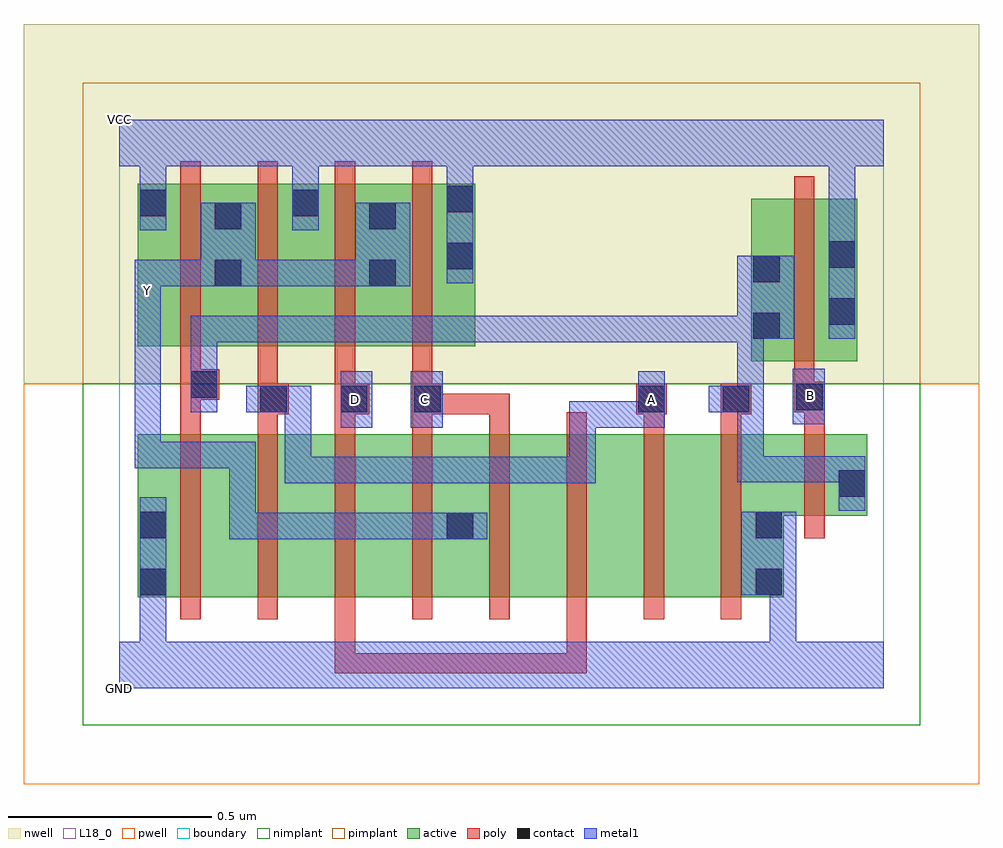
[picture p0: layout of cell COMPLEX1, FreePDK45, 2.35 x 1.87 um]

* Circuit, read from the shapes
.subckt COMPLEX1 A B C D GND VCC Y
M1 n1 n2 GND VSUBS nfet w=0.4u l=0.05u
M2 n3 A n1 VSUBS nfet w=0.4u l=0.05u
M3 n4 D n3 VSUBS nfet w=0.4u l=0.05u
M4 Y C n4 VSUBS nfet w=0.4u l=0.05u
M5 n5 C Y VSUBS nfet w=0.4u l=0.05u
M6 n6 D n5 VSUBS nfet w=0.4u l=0.05u
M7 n7 A n6 VSUBS nfet w=0.4u l=0.05u
M8 GND n2 n7 VSUBS nfet w=0.4u l=0.05u
M9 n2 B GND VSUBS nfet w=0.2u l=0.05u
M10 Y n2 VCC n8 pfet w=0.4u l=0.05u
M11 VCC A Y n8 pfet w=0.4u l=0.05u
M12 Y D VCC n8 pfet w=0.4u l=0.05u
M13 VCC C Y n8 pfet w=0.4u l=0.05u
M14 VCC B n2 n8 pfet w=0.4u l=0.05u
.ends

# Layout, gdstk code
import gdstk
lib = gdstk.Library(unit=1e-6, precision=1e-09)
def R(c, l, rs):  # rectangles x0, y0, x1, y1
    for r in rs: c.add(gdstk.rectangle(r[:2], r[2:], *l))
def A(c, l, x, y, w, h, nx, ny, dx, dy):  # array of equal rectangles
    R(c, l, [(x+i*dx, y+j*dy, x+i*dx+w, y+j*dy+h) for i in range(nx) for j in range(ny)])
active = (1, 0)
pwell = (2, 0)
nwell = (3, 0)
nimplant = (4, 0)
pimplant = (5, 0)
poly = (9, 0)
contact = (10, 0)
metal1 = (11, 0)
L18_0 = (18, 0)
boundary = (235, 0)

complex1 = lib.new_cell('COMPLEX1')
A(complex1, active, 0.23, 0.842, 0.265, 0.4, 3, 1, 0.19, 0)
R(complex1, active, [(0.045,0.225,0.27,0.625), (0.045,0.225,0.12,0.625), (0.27,0.225,0.46,0.625), (0.46,0.225,0.65,0.625), (0.65,0.225,0.875,0.625), (0.8,0.225,1.03,0.625), (0.8,0.225,0.875,0.617), (1.03,0.225,1.22,0.625), (1.22,0.225,1.41,0.625), (1.41,0.225,1.635,0.625), (1.56,0.225,1.635,0.44), (1.56,0.425,1.84,0.625), (1.765,0.425,1.84,0.625), (1.555,0.805,1.815,1.205), (1.555,0.805,1.63,1.2), (1.74,0.805,1.815,1.205), (0.045,0.842,0.12,1.242), (0.045,0.842,0.305,1.242), (0.8,0.842,0.875,1.242), (0.23,0.907,0.305,1.2), (0.42,0.907,0.495,1.232), (0.61,0.907,0.685,1.2)])
R(complex1, pwell, [(-0.235,-0.235,2.115,0.75)])
R(complex1, nwell, [(-0.235,0.75,2.115,1.635)])
R(complex1, nimplant, [(-0.09,-0.09,1.97,0.75)])
R(complex1, pimplant, [(-0.09,0.75,1.97,1.49)])
A(complex1, poly, 0.15, 0.17, 0.05, 0.51, 8, 1, 0.19, 0)
A(complex1, poly, 0.34, 0.63, 0.05, 0.095, 4, 1, 0.19, 0)
A(complex1, poly, 0.34, 0.7, 0.05, 0.137, 3, 1, 0.19, 0)
A(complex1, poly, 0.34, 0.787, 0.05, 0.51, 3, 1, 0.19, 0)
R(complex1, poly, [(0.53,0.037,0.58,0.22), (0.53,0.037,0.58,0.087), (0.53,0.037,0.58,0.087), (0.53,0.037,0.58,0.087), (0.53,0.037,0.827,0.087), (0.777,0.037,0.827,0.087), (0.777,0.037,0.827,0.087), (0.777,0.037,0.827,0.087), (0.777,0.037,1.017,0.087), (0.967,0.037,1.15,0.087), (0.967,0.037,1.017,0.087), (0.967,0.037,1.017,0.087), (0.967,0.037,1.017,0.087), (1.1,0.037,1.15,0.22), (1.1,0.037,1.15,0.087), (1.685,0.37,1.735,0.68), (0.15,0.63,0.2,0.76), (1.29,0.63,1.34,0.725), (1.48,0.63,1.53,0.725), (1.685,0.63,1.735,0.73), (0.34,0.675,0.417,0.75), (0.53,0.675,0.615,0.75), (0.72,0.675,0.795,0.75), (0.745,0.675,0.795,0.725), (0.745,0.675,0.795,0.725), (0.745,0.675,0.96,0.725), (0.91,0.675,0.96,0.725), (1.272,0.675,1.347,0.75), (1.48,0.675,1.555,0.75), (1.66,0.68,1.735,0.755), (1.66,0.705,1.71,0.8), (0.15,0.71,0.245,0.785), (0.15,0.735,0.2,0.835), (1.66,0.75,1.71,1.26), (0.15,0.785,0.2,1.297)])
R(complex1, contact, [(0.05,0.23,0.115,0.295), (1.565,0.23,1.63,0.295), (0.805,0.367,0.87,0.432), (0.05,0.37,0.115,0.435), (1.565,0.37,1.63,0.435), (1.77,0.472,1.835,0.537), (0.347,0.68,0.412,0.745), (0.545,0.68,0.61,0.745), (0.725,0.68,0.79,0.745), (1.277,0.68,1.342,0.745), (1.485,0.68,1.55,0.745), (1.665,0.685,1.73,0.75), (0.175,0.715,0.24,0.78), (1.56,0.86,1.625,0.925), (1.745,0.895,1.81,0.96), (0.235,0.99,0.3,1.055), (0.615,0.99,0.68,1.055), (1.56,1,1.625,1.065), (0.805,1.032,0.87,1.097), (1.745,1.035,1.81,1.1), (0.235,1.13,0.3,1.195), (0.615,1.13,0.68,1.195), (0.05,1.162,0.115,1.227), (0.425,1.162,0.49,1.227), (0.805,1.172,0.87,1.237)])
R(complex1, metal1, [(0,0,1.88,0.115), (0.05,0.05,0.115,0.115), (0.05,0.05,0.115,0.115), (0.05,0.05,0.115,0.26), (1.6,0.05,1.665,0.295), (0.05,0.195,0.115,0.47), (1.53,0.23,1.665,0.435), (1.6,0.23,1.665,0.295), (1.6,0.23,1.665,0.295), (0.27,0.367,0.335,0.432), (0.27,0.367,0.472,0.432), (0.27,0.367,0.335,0.607), (0.407,0.367,0.472,0.432), (0.407,0.367,0.472,0.432), (0.407,0.367,0.472,0.432), (0.407,0.367,0.645,0.432), (0.58,0.367,0.645,0.432), (0.58,0.367,0.645,0.432), (0.58,0.367,0.645,0.432), (0.58,0.367,0.835,0.432), (0.77,0.367,0.835,0.432), (0.77,0.367,0.835,0.432), (0.77,0.367,0.905,0.432), (1.77,0.437,1.835,0.572), (0.407,0.505,0.472,0.57), (0.407,0.505,0.645,0.57), (0.407,0.505,0.472,0.745), (0.58,0.505,0.645,0.57), (0.58,0.505,0.645,0.57), (0.58,0.505,0.645,0.57), (0.58,0.505,0.897,0.57), (0.832,0.505,0.897,0.57), (0.832,0.505,0.897,0.57), (0.832,0.505,0.897,0.57), (0.832,0.505,1.035,0.57), (0.97,0.505,1.035,0.57), (0.97,0.505,1.172,0.57), (1.107,0.505,1.172,0.57), (1.107,0.505,1.172,0.707), (1.52,0.507,1.585,0.572), (1.52,0.507,1.835,0.572), (1.52,0.507,1.585,0.745), (1.77,0.507,1.835,0.572), (1.77,0.507,1.835,0.572), (0.037,0.542,0.102,0.607), (0.037,0.542,0.102,0.607), (0.037,0.542,0.102,0.607), (0.037,0.542,0.335,0.607), (0.037,0.542,0.102,0.977), (0.27,0.542,0.335,0.607), (0.545,0.642,0.622,0.78), (0.717,0.642,0.795,0.78), (1.107,0.642,1.172,0.707), (1.107,0.642,1.172,0.707), (1.107,0.642,1.172,0.707), (1.107,0.642,1.31,0.707), (1.245,0.642,1.31,0.707), (1.245,0.642,1.342,0.707), (1.277,0.642,1.342,0.78), (1.657,0.65,1.735,0.787), (0.175,0.68,0.24,0.815), (0.312,0.68,0.447,0.745), (0.382,0.68,0.472,0.745), (0.407,0.68,0.472,0.745), (1.45,0.68,1.585,0.745), (1.52,0.68,1.585,0.745), (1.52,0.68,1.585,0.745), (1.52,0.68,1.585,0.925), (0.175,0.75,0.24,0.815), (0.175,0.75,0.24,0.815), (0.175,0.75,0.24,0.917), (0.175,0.852,0.24,0.917), (0.175,0.852,0.472,0.917), (0.407,0.852,0.472,0.917), (0.407,0.852,0.472,0.917), (0.407,0.852,0.472,0.917), (0.407,0.852,0.645,0.917), (0.58,0.852,0.645,0.917), (0.58,0.852,0.645,0.917), (0.58,0.852,0.645,0.917), (0.58,0.852,0.782,0.917), (0.717,0.852,0.782,0.917), (0.717,0.852,0.782,0.917), (0.717,0.852,0.782,0.917), (0.717,0.852,1.035,0.917), (0.97,0.852,1.035,0.917), (0.97,0.852,1.035,0.917), (0.97,0.852,1.035,0.917), (0.97,0.852,1.172,0.917), (1.107,0.852,1.172,0.917), (1.107,0.852,1.31,0.917), (1.245,0.852,1.31,0.917), (1.245,0.852,1.31,0.917), (1.245,0.852,1.31,0.917), (1.245,0.852,1.447,0.917), (1.382,0.852,1.447,0.917), (1.382,0.852,1.585,0.917), (1.52,0.852,1.585,0.925), (1.52,0.86,1.585,0.925), (1.52,0.86,1.66,1.065), (1.745,0.86,1.81,1.135), (0.037,0.912,0.102,1.055), (0.037,0.99,0.102,1.055), (0.037,0.99,0.102,1.055), (0.037,0.99,0.102,1.055), (0.037,0.99,0.102,1.055), (0.037,0.99,0.102,1.055), (0.037,0.99,0.102,1.055), (0.037,0.99,0.265,1.055), (0.2,0.99,0.335,1.195), (0.27,0.99,0.472,1.055), (0.407,0.99,0.472,1.055), (0.407,0.99,0.472,1.055), (0.407,0.99,0.472,1.055), (0.407,0.99,0.645,1.055), (0.58,0.99,0.645,1.055), (0.58,0.99,0.645,1.055), (0.58,0.99,0.715,1.195), (0.805,0.997,0.87,1.272), (1.745,1.07,1.81,1.35), (0.05,1.127,0.115,1.262), (0.425,1.127,0.49,1.262), (0.05,1.197,0.115,1.35), (0.425,1.197,0.49,1.35), (0.805,1.207,0.87,1.35), (0,1.285,1.88,1.4)])
R(complex1, L18_0, [(0,0,1.88,0.115), (0.05,0.05,0.115,0.115), (0.05,0.05,0.115,0.115), (0.05,0.05,0.115,0.26), (1.6,0.05,1.665,0.295), (0.05,0.195,0.115,0.47), (1.53,0.23,1.665,0.435), (1.6,0.23,1.665,0.295), (1.6,0.23,1.665,0.295), (0.27,0.367,0.335,0.432), (0.27,0.367,0.335,0.607), (0.27,0.367,0.472,0.432), (0.407,0.367,0.472,0.432), (0.407,0.367,0.472,0.432), (0.407,0.367,0.472,0.432), (0.407,0.367,0.645,0.432), (0.58,0.367,0.645,0.432), (0.58,0.367,0.645,0.432), (0.58,0.367,0.645,0.432), (0.58,0.367,0.835,0.432), (0.77,0.367,0.835,0.432), (0.77,0.367,0.835,0.432), (0.77,0.367,0.905,0.432), (0.407,0.505,0.472,0.57), (0.407,0.505,0.472,0.745), (0.407,0.505,0.645,0.57), (0.58,0.505,0.645,0.57), (0.58,0.505,0.645,0.57), (0.58,0.505,0.645,0.57), (0.58,0.505,0.897,0.57), (0.832,0.505,0.897,0.57), (0.832,0.505,0.897,0.57), (0.832,0.505,0.897,0.57), (0.832,0.505,1.035,0.57), (0.97,0.505,1.035,0.57), (0.97,0.505,1.172,0.57), (1.107,0.505,1.172,0.57), (1.107,0.505,1.172,0.707), (0.037,0.542,0.102,0.607), (0.037,0.542,0.102,0.607), (0.037,0.542,0.102,0.607), (0.037,0.542,0.102,0.977), (0.037,0.542,0.335,0.607), (0.27,0.542,0.335,0.607), (0.545,0.642,0.622,0.78), (0.717,0.642,0.795,0.78), (1.107,0.642,1.172,0.707), (1.107,0.642,1.172,0.707), (1.107,0.642,1.172,0.707), (1.107,0.642,1.31,0.707), (1.245,0.642,1.31,0.707), (1.245,0.642,1.342,0.707), (1.277,0.642,1.342,0.78), (1.657,0.65,1.735,0.787), (0.547,0.677,0.612,0.742), (0.717,0.677,0.782,0.742), (1.277,0.677,1.342,0.742), (0.312,0.68,0.447,0.745), (0.382,0.68,0.472,0.745), (0.407,0.68,0.472,0.745), (1.667,0.687,1.732,0.752), (1.745,0.86,1.81,1.135), (0.037,0.912,0.102,1.055), (0.037,0.947,0.102,1.012), (0.037,0.99,0.102,1.055), (0.037,0.99,0.102,1.055), (0.037,0.99,0.102,1.055), (0.037,0.99,0.102,1.055), (0.037,0.99,0.102,1.055), (0.037,0.99,0.102,1.055), (0.037,0.99,0.265,1.055), (0.2,0.99,0.335,1.195), (0.27,0.99,0.472,1.055), (0.407,0.99,0.472,1.055), (0.407,0.99,0.472,1.055), (0.407,0.99,0.472,1.055), (0.407,0.99,0.645,1.055), (0.58,0.99,0.645,1.055), (0.58,0.99,0.645,1.055), (0.58,0.99,0.715,1.195), (0.805,0.997,0.87,1.272), (1.745,1.07,1.81,1.35), (0.05,1.127,0.115,1.262), (0.425,1.127,0.49,1.262), (0.05,1.197,0.115,1.35), (0.425,1.197,0.49,1.35), (0.805,1.207,0.87,1.35), (0,1.285,1.88,1.4)])
R(complex1, boundary, [(0,0,1.88,1.4)])
complex1.add(gdstk.Label('A', (1.31,0.71), layer=11, texttype=0))
complex1.add(gdstk.Label('B', (1.7,0.72), layer=11, texttype=0))
complex1.add(gdstk.Label('C', (0.75,0.71), layer=11, texttype=0))
complex1.add(gdstk.Label('D', (0.58,0.71), layer=11, texttype=0))
complex1.add(gdstk.Label('Y', (0.07,0.98), layer=11, texttype=0))
complex1.add(gdstk.Label('VCC', (0,1.4), layer=11, texttype=0))
complex1.add(gdstk.Label('GND', (0,0), layer=11, texttype=0))

lib.write_gds('COMPLEX1.gds')
